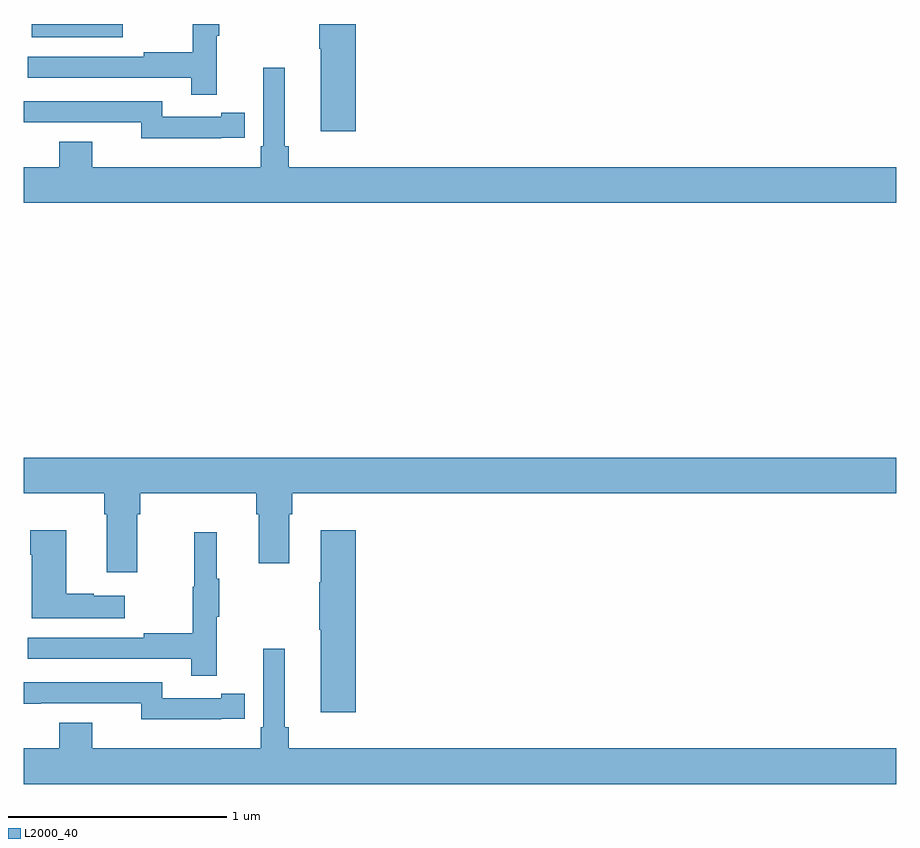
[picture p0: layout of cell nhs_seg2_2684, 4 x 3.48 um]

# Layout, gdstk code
import gdstk
lib = gdstk.Library(unit=1e-6, precision=1e-09)
def R(c, l, rs):  # rectangles x0, y0, x1, y1
    for r in rs: c.add(gdstk.rectangle(r[:2], r[2:], *l))
def P(c, l, *ps):  # polygons
    for p in ps: c.add(gdstk.Polygon(p, *l))
L2000_40 = (2000, 40)

nhs_seg2_2684 = lib.new_cell('nhs_seg2_2684')
R(nhs_seg2_2684, L2000_40, [(251.036,637.739,251.455,637.8)])
P(nhs_seg2_2684, L2000_40, [(252.521,637.8),(252.355,637.8),(252.355,637.687),(252.362,637.687),(252.362,637.308),(252.521,637.308)],
  [(251.885,637.747),(251.896,637.747),(251.896,637.8),(251.775,637.8),(251.775,637.67),(251.551,637.67),(251.551,637.65),(251.019,637.65),(251.019,637.554),(251.767,637.554),(251.767,637.476),(251.885,637.476)],
  [(255,637.144),(252.215,637.144),(252.215,637.24),(252.196,637.24),(252.196,637.6),(252.099,637.6),(252.099,637.24),(252.086,637.24),(252.086,637.144),(251.314,637.144),(251.314,637.261),(251.162,637.261),(251.162,637.144),(251,637.144),(251,636.98),(255,636.98)],
  [(251.906,637.278),(252.014,637.278),(252.014,637.394),(251.906,637.394),(251.906,637.374),(251.634,637.374),(251.634,637.446),(251,637.446),(251,637.349),(251.078,637.349),(251.078,637.35),(251.538,637.35),(251.538,637.277),(251.906,637.277)],
  [(251.521,635.552),(251.534,635.552),(251.534,635.648),(252.065,635.648),(252.065,635.552),(252.077,635.552),(252.077,635.328),(252.217,635.328),(252.217,635.552),(252.23,635.552),(252.23,635.648),(255,635.648),(255,635.812),(251,635.812),(251,635.648),(251.369,635.648),(251.369,635.552),(251.381,635.552),(251.381,635.286),(251.521,635.286)],
  [(252.521,635.479),(252.362,635.479),(252.362,635.24),(252.355,635.24),(252.355,635.023),(252.362,635.023),(252.362,634.644),(252.521,634.644)],
  [(251.464,635.179),(251.321,635.179),(251.321,635.189),(251.194,635.189),(251.194,635.479),(251.029,635.479),(251.029,635.366),(251.036,635.366),(251.036,635.075),(251.464,635.075)],
  [(251.885,635.083),(251.896,635.083),(251.896,635.257),(251.885,635.257),(251.885,635.47),(251.782,635.47),(251.782,635.22),(251.775,635.22),(251.775,635.006),(251.551,635.006),(251.551,634.986),(251.019,634.986),(251.019,634.89),(251.767,634.89),(251.767,634.812),(251.885,634.812)],
  [(255,634.48),(252.215,634.48),(252.215,634.576),(252.196,634.576),(252.196,634.936),(252.099,634.936),(252.099,634.576),(252.086,634.576),(252.086,634.48),(251.314,634.48),(251.314,634.597),(251.162,634.597),(251.162,634.48),(251,634.48),(251,634.316),(255,634.316)],
  [(251.906,634.614),(252.014,634.614),(252.014,634.73),(251.906,634.73),(251.906,634.71),(251.634,634.71),(251.634,634.782),(251,634.782),(251,634.685),(251.078,634.685),(251.078,634.686),(251.538,634.686),(251.538,634.613),(251.906,634.613)])

lib.write_gds('nhs_seg2_2684.gds')
